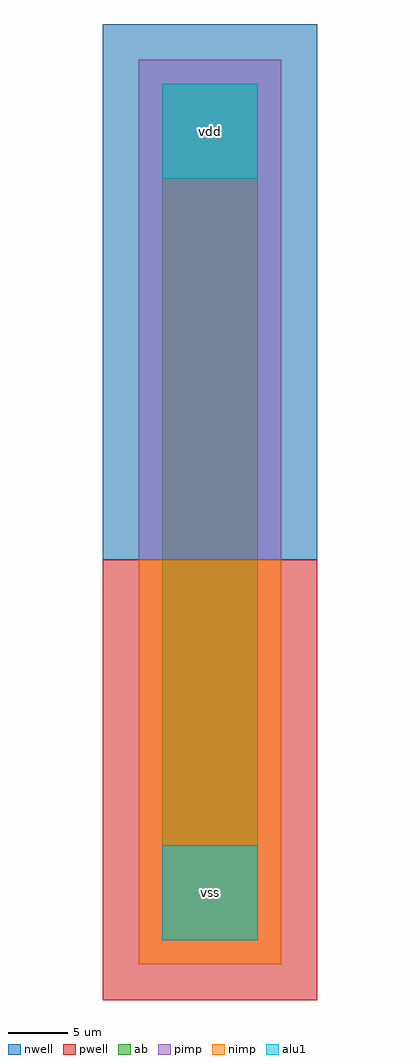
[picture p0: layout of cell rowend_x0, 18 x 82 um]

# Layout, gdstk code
import gdstk
lib = gdstk.Library(unit=1e-6, precision=1e-09)
def R(c, l, rs):  # rectangles x0, y0, x1, y1
    for r in rs: c.add(gdstk.rectangle(r[:2], r[2:], *l))
pwell = (41, 0)
nwell = (42, 0)
pimp = (44, 0)
nimp = (45, 0)
alu1 = (49, 0)
ab = (63, 0)

rowend_x0 = lib.new_cell('rowend_x0')
R(rowend_x0, pwell, [(-5,-5,13,32)])
R(rowend_x0, nwell, [(-5,32,13,77)])
R(rowend_x0, pimp, [(-2,32,10,74)])
R(rowend_x0, nimp, [(-2,-2,10,32)])
R(rowend_x0, alu1, [(0,0,8,8), (0,64,8,72)])
R(rowend_x0, ab, [(0,0,8,72)])
rowend_x0.add(gdstk.Label('vss', (4,4), layer=49, texttype=0))
rowend_x0.add(gdstk.Label('vdd', (4,68), layer=49, texttype=0))

lib.write_gds('rowend_x0.gds')
